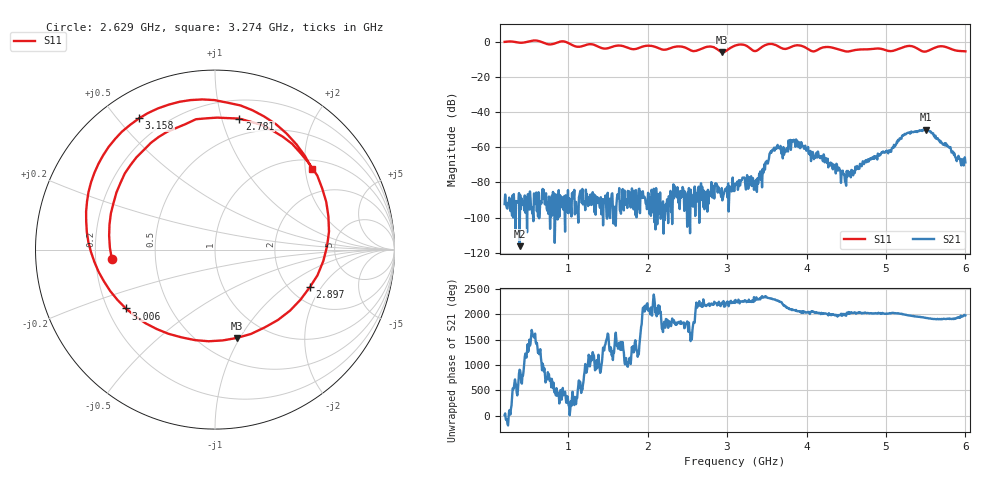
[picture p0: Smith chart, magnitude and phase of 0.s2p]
! NanoVNA-App by OneOfEleven et al v1.1.209 (+OD15)
! Date: 2024-07-30 15:20:32
! Start: 200MHz Stop: 6GHz Points: 801
! S-Parameter data: F S11 S21 S12 S22
# Hz S RI R 50
!  Frequency  S11_Real  S11_Imag  S21_Real  S21_Imag  S12_Real  S12_Imag  S22_Real  S22_Imag
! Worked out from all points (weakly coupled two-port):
!   801 points, 200 MHz to 6 GHz, reference 50 ohm
!   highest |S21| = -49.93 dB at 5.507 GHz (marker M1); lowest = -116.3 dB at 388.5 MHz (marker M2)
!   lowest |S11| = -5.9 dB at 2.941 GHz (marker M3), VSWR 3.06, Z = 36.7 - j48.6 ohm
!   |S11| at or under -10 dB: nowhere
!   S12 and S22 are empty: the file has one direction only
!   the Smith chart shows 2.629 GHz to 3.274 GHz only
!   S11 on the Smith chart (normalised r, x): 2.629 GHz: 0.27, -0.04; 2.781 GHz: 0.35, +1.14; 2.897 GHz: 2.57, -1.57; 3.006 GHz: 0.28, -0.28; 3.158 GHz: 0.11, +0.57; 3.274 GHz: 1.24, +2.18
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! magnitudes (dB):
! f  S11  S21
! 200 MHz  0.0  -92.3
! 388.5 MHz  -0.4  -116.3
! 1.171 GHz  -2.5  -91.7
! 2.136 GHz  -3.5  -86.7
! 2.629 GHz  -4.8  -85.5
! 2.781 GHz  -2.6  -85.7
! 2.897 GHz  -4.9  -84.4
! 2.941 GHz  -5.9  -90.2
! 3.006 GHz  -4.5  -88.6
! 3.1 GHz  -2.1  -80.8
! 3.158 GHz  -1.5  -81.7
! 3.274 GHz  -3.1  -80.5
! 3.412 GHz  -3.8  -76.0
! 3.622 GHz  -1.9  -59.7
! 3.709 GHz  -3.9  -59.9
! 3.861 GHz  -2.0  -59.7
! 4.072 GHz  -5.3  -63.5
! 4.492 GHz  -5.4  -80.1
! 5.036 GHz  -5.1  -61.8
! 5.231 GHz  -2.8  -52.9
! 5.507 GHz  -5.4  -49.9
! 6 GHz  -5.3  -68.6
